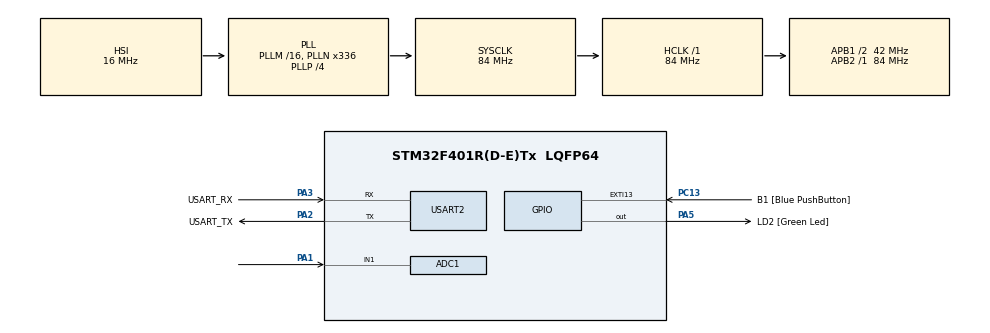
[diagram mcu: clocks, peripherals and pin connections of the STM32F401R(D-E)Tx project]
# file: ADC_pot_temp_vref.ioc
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ADC1.Channel-0\#ChannelRegularConversion=ADC_CHANNEL_1
ADC1.Channel-3\#ChannelRegularConversion=ADC_CHANNEL_TEMPSENSOR
ADC1.Channel-4\#ChannelRegularConversion=ADC_CHANNEL_VREFINT
ADC1.DMAContinuousRequests=ENABLE
ADC1.ExternalTrigConv=ADC_EXTERNALTRIGCONV_T2_TRGO
ADC1.NbrOfConversion=3
ADC1.NbrOfConversionFlag=1
ADC1.Rank-0\#ChannelRegularConversion=1
ADC1.Rank-3\#ChannelRegularConversion=2
ADC1.Rank-4\#ChannelRegularConversion=3
ADC1.SamplingTime-0\#ChannelRegularConversion=ADC_SAMPLETIME_480CYCLES
ADC1.SamplingTime-3\#ChannelRegularConversion=ADC_SAMPLETIME_480CYCLES
ADC1.SamplingTime-4\#ChannelRegularConversion=ADC_SAMPLETIME_480CYCLES
ADC1.master=1
Dma.ADC1.0.Direction=DMA_PERIPH_TO_MEMORY
Dma.ADC1.0.FIFOMode=DMA_FIFOMODE_DISABLE
Dma.ADC1.0.Instance=DMA2_Stream0
Dma.ADC1.0.MemDataAlignment=DMA_MDATAALIGN_HALFWORD
Dma.ADC1.0.MemInc=DMA_MINC_ENABLE
Dma.ADC1.0.Mode=DMA_CIRCULAR
Dma.ADC1.0.PeriphDataAlignment=DMA_PDATAALIGN_HALFWORD
Dma.ADC1.0.PeriphInc=DMA_PINC_DISABLE
Dma.ADC1.0.Priority=DMA_PRIORITY_LOW
Dma.Request0=ADC1
Dma.Request1=USART2_TX
Dma.USART2_TX.1.Direction=DMA_MEMORY_TO_PERIPH
Dma.USART2_TX.1.FIFOMode=DMA_FIFOMODE_DISABLE
Dma.USART2_TX.1.Instance=DMA1_Stream6
Dma.USART2_TX.1.MemDataAlignment=DMA_MDATAALIGN_BYTE
Dma.USART2_TX.1.MemInc=DMA_MINC_ENABLE
Dma.USART2_TX.1.Mode=DMA_NORMAL
Dma.USART2_TX.1.PeriphDataAlignment=DMA_PDATAALIGN_BYTE
Dma.USART2_TX.1.PeriphInc=DMA_PINC_DISABLE
Dma.USART2_TX.1.Priority=DMA_PRIORITY_LOW
Mcu.Family=STM32F4
Mcu.Name=STM32F401R(D-E)Tx
Mcu.Package=LQFP64
NVIC.ADC_IRQn=true\:0\:0\:false\:false\:true\:true\:true\:true
NVIC.DMA1_Stream6_IRQn=true\:0\:0\:false\:false\:true\:false\:true\:true
NVIC.DMA2_Stream0_IRQn=true\:0\:0\:false\:false\:true\:false\:true\:true
NVIC.PriorityGroup=NVIC_PRIORITYGROUP_0
NVIC.USART2_IRQn=true\:0\:0\:false\:false\:true\:true\:true\:true
PA1.Signal=ADCx_IN1
PA13.GPIO_Label=TMS
PA13.Mode=Serial_Wire
PA13.Signal=SYS_JTMS-SWDIO
PA14.GPIO_Label=TCK
PA14.Mode=Serial_Wire
PA14.Signal=SYS_JTCK-SWCLK
PA2.GPIO_Label=USART_TX
PA2.GPIO_Mode=GPIO_MODE_AF_PP
PA2.GPIO_PuPd=GPIO_NOPULL
PA2.GPIO_Speed=GPIO_SPEED_FREQ_LOW
PA2.Mode=Asynchronous
PA2.Signal=USART2_TX
PA3.GPIO_Label=USART_RX
PA3.GPIO_Mode=GPIO_MODE_AF_PP
PA3.GPIO_PuPd=GPIO_NOPULL
PA3.GPIO_Speed=GPIO_SPEED_FREQ_LOW
PA3.Mode=Asynchronous
PA3.Signal=USART2_RX
PA5.GPIO_Label=LD2 [Green Led]
PA5.GPIO_Mode=GPIO_MODE_OUTPUT_PP
PA5.GPIO_PuPd=GPIO_NOPULL
PA5.GPIO_Speed=GPIO_SPEED_FREQ_LOW
PA5.Signal=GPIO_Output
PB3.GPIO_Label=SWO
PB3.Signal=SYS_JTDO-SWO
PC13-ANTI_TAMP.GPIO_Label=B1 [Blue PushButton]
PC13-ANTI_TAMP.GPIO_ModeDefaultEXTI=GPIO_MODE_IT_FALLING
PC13-ANTI_TAMP.GPIO_PuPd=GPIO_NOPULL
PC13-ANTI_TAMP.Signal=GPXTI13
PC14-OSC32_IN.Mode=LSE-External-Oscillator
PC14-OSC32_IN.Signal=RCC_OSC32_IN
PC15-OSC32_OUT.Mode=LSE-External-Oscillator
PC15-OSC32_OUT.Signal=RCC_OSC32_OUT
PH0\ -\ OSC_IN.Mode=HSE-External-Clock-Source
PH0\ -\ OSC_IN.Signal=RCC_OSC_IN
PH1\ -\ OSC_OUT.Mode=HSE-External-Clock-Source
PH1\ -\ OSC_OUT.Signal=RCC_OSC_OUT
ProjectManager.HeapSize=0x200
ProjectManager.StackSize=0x400
ProjectManager.TargetToolchain=STM32CubeIDE
RCC.48MHZClocksFreq_Value=48000000
RCC.AHBFreq_Value=84000000
RCC.APB1CLKDivider=RCC_HCLK_DIV2
RCC.APB1Freq_Value=42000000
RCC.APB1TimFreq_Value=84000000
RCC.APB2Freq_Value=84000000
RCC.APB2TimFreq_Value=84000000
RCC.CortexFreq_Value=84000000
RCC.HCLKFreq_Value=84000000
RCC.HSE_VALUE=8000000
RCC.HSI_VALUE=16000000
RCC.PLLN=336
RCC.PLLP=RCC_PLLP_DIV4
RCC.PLLQ=7
RCC.SYSCLKFreq_VALUE=84000000
RCC.SYSCLKSource=RCC_SYSCLKSOURCE_PLLCLK
RCC.VCOOutputFreq_Value=336000000
SH.ADCx_IN1.0=ADC1_IN1,IN1
TIM2.Period=(TEMPO*10) - 1
TIM2.Prescaler=8400 - 1
TIM2.TIM_MasterOutputTrigger=TIM_TRGO_UPDATE
USART2.VirtualMode=VM_ASYNC
VP_ADC1_TempSens_Input.Mode=IN-TempSens
VP_ADC1_Vref_Input.Mode=IN-Vrefint
VP_TIM2_VS_ClockSourceINT.Mode=Internal
board=NUCLEO-F401RE

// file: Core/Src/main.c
/* USER CODE BEGIN Header */
/**
  ******************************************************************************
  * @file           : main.c
  * @brief          : Main program body
  ******************************************************************************
  * @attention
  *
  * Copyright (c) 2024 STMicroelectronics.
  * All rights reserved.
  *
  * This software is licensed under terms that can be found in the LICENSE file
  * in the root directory of this software component.
  * If no LICENSE file comes with this software, it is provided AS-IS.
  *
  ******************************************************************************
  */
/* USER CODE END Header */
#include "main.h"

/* USER CODE BEGIN PD */
#define TEMPO 1000
#define CHANNEL_NUMBER 3
/* USER CODE END PD */

ADC_HandleTypeDef hadc1;
DMA_HandleTypeDef hdma_adc1;

TIM_HandleTypeDef htim2;

UART_HandleTypeDef huart2;
DMA_HandleTypeDef hdma_usart2_tx;

/* USER CODE BEGIN PV */
uint16_t in_data[3] = {0};

char string[64] = {0};
char string_length = 0;

float v_pot = 0;
float v_temp = 0;
float v_ref = 0;

/* USER CODE END PV */

void SystemClock_Config(void);
static void MX_GPIO_Init(void);
static void MX_DMA_Init(void);
static void MX_USART2_UART_Init(void);
static void MX_ADC1_Init(void);
static void MX_TIM2_Init(void);

/* USER CODE BEGIN 0 */

void HAL_ADC_ConvCpltCallback(ADC_HandleTypeDef *hadc)
{
	v_pot  = in_data[0]*3.3/4096.0;
	v_temp = (in_data[1]*3.3/4096.0-0.76)/0.0025+25;
	v_ref  = in_data[2]*3.3/4096.0;

	string_length = snprintf(string, sizeof(string), "Potentiometer: %.3f V; Temperature: %.3f %cC; Vref: %.3f V\n", v_pot, v_temp, 176, v_ref);

	HAL_UART_Transmit_DMA(&huart2, string, string_length);
}

/* USER CODE END 0 */

int main(void)
{

  /* MCU Configuration--------------------------------------------------------*/

  /* Reset of all peripherals, Initializes the Flash interface and the Systick. */
  HAL_Init();

  /* Configure the system clock */
  SystemClock_Config();

  /* Initialize all configured peripherals */
  MX_GPIO_Init();
  MX_DMA_Init();
  MX_USART2_UART_Init();
  MX_ADC1_Init();
  MX_TIM2_Init();
  /* USER CODE BEGIN 2 */

  HAL_TIM_Base_Start(&htim2);

  HAL_ADC_Start_DMA(&hadc1, in_data, CHANNEL_NUMBER);

  /* USER CODE END 2 */

  /* Infinite loop */
  while (1)
  {

  }
}

void SystemClock_Config(void)
{
  RCC_OscInitTypeDef RCC_OscInitStruct = {0};
  RCC_ClkInitTypeDef RCC_ClkInitStruct = {0};

  /** Configure the main internal regulator output voltage
  */
  __HAL_RCC_PWR_CLK_ENABLE();
  __HAL_PWR_VOLTAGESCALING_CONFIG(PWR_REGULATOR_VOLTAGE_SCALE2);

  /** Initializes the RCC Oscillators according to the specified parameters
  * in the RCC_OscInitTypeDef structure.
  */
  RCC_OscInitStruct.OscillatorType = RCC_OSCILLATORTYPE_HSI;
  RCC_OscInitStruct.HSIState = RCC_HSI_ON;
  RCC_OscInitStruct.HSICalibrationValue = RCC_HSICALIBRATION_DEFAULT;
  RCC_OscInitStruct.PLL.PLLState = RCC_PLL_ON;
  RCC_OscInitStruct.PLL.PLLSource = RCC_PLLSOURCE_HSI;
  RCC_OscInitStruct.PLL.PLLM = 16;
  RCC_OscInitStruct.PLL.PLLN = 336;
  RCC_OscInitStruct.PLL.PLLP = RCC_PLLP_DIV4;
  RCC_OscInitStruct.PLL.PLLQ = 7;
  if (HAL_RCC_OscConfig(&RCC_OscInitStruct) != HAL_OK)
  {
    Error_Handler();
  }

  /** Initializes the CPU, AHB and APB buses clocks
  */
  RCC_ClkInitStruct.ClockType = RCC_CLOCKTYPE_HCLK|RCC_CLOCKTYPE_SYSCLK
                              |RCC_CLOCKTYPE_PCLK1|RCC_CLOCKTYPE_PCLK2;
  RCC_ClkInitStruct.SYSCLKSource = RCC_SYSCLKSOURCE_PLLCLK;
  RCC_ClkInitStruct.AHBCLKDivider = RCC_SYSCLK_DIV1;
  RCC_ClkInitStruct.APB1CLKDivider = RCC_HCLK_DIV2;
  RCC_ClkInitStruct.APB2CLKDivider = RCC_HCLK_DIV1;

  if (HAL_RCC_ClockConfig(&RCC_ClkInitStruct, FLASH_LATENCY_2) != HAL_OK)
  {
    Error_Handler();
  }
}

static void MX_ADC1_Init(void)
{

  ADC_ChannelConfTypeDef sConfig = {0};

  /** Configure the global features of the ADC (Clock, Resolution, Data Alignment and number of conversion)
  */
  hadc1.Instance = ADC1;
  hadc1.Init.ClockPrescaler = ADC_CLOCK_SYNC_PCLK_DIV4;
  hadc1.Init.Resolution = ADC_RESOLUTION_12B;
  hadc1.Init.ScanConvMode = ENABLE;
  hadc1.Init.ContinuousConvMode = DISABLE;
  hadc1.Init.DiscontinuousConvMode = DISABLE;
  hadc1.Init.ExternalTrigConvEdge = ADC_EXTERNALTRIGCONVEDGE_RISING;
  hadc1.Init.ExternalTrigConv = ADC_EXTERNALTRIGCONV_T2_TRGO;
  hadc1.Init.DataAlign = ADC_DATAALIGN_RIGHT;
  hadc1.Init.NbrOfConversion = 3;
  hadc1.Init.DMAContinuousRequests = ENABLE;
  hadc1.Init.EOCSelection = ADC_EOC_SINGLE_CONV;
  if (HAL_ADC_Init(&hadc1) != HAL_OK)
  {
    Error_Handler();
  }

  /** Configure for the selected ADC regular channel its corresponding rank in the sequencer and its sample time.
  */
  sConfig.Channel = ADC_CHANNEL_1;
  sConfig.Rank = 1;
  sConfig.SamplingTime = ADC_SAMPLETIME_480CYCLES;
  if (HAL_ADC_ConfigChannel(&hadc1, &sConfig) != HAL_OK)
  {
    Error_Handler();
  }

  /** Configure for the selected ADC regular channel its corresponding rank in the sequencer and its sample time.
  */
  sConfig.Channel = ADC_CHANNEL_TEMPSENSOR;
  sConfig.Rank = 2;
  if (HAL_ADC_ConfigChannel(&hadc1, &sConfig) != HAL_OK)
  {
    Error_Handler();
  }

  /** Configure for the selected ADC regular channel its corresponding rank in the sequencer and its sample time.
  */
  sConfig.Channel = ADC_CHANNEL_VREFINT;
  sConfig.Rank = 3;
  if (HAL_ADC_ConfigChannel(&hadc1, &sConfig) != HAL_OK)
  {
    Error_Handler();
  }

}

static void MX_TIM2_Init(void)
{

  TIM_ClockConfigTypeDef sClockSourceConfig = {0};
  TIM_MasterConfigTypeDef sMasterConfig = {0};

  htim2.Instance = TIM2;
  htim2.Init.Prescaler = 8400 - 1;
  htim2.Init.CounterMode = TIM_COUNTERMODE_UP;
  htim2.Init.Period = (TEMPO*10) - 1;
  htim2.Init.ClockDivision = TIM_CLOCKDIVISION_DIV1;
  htim2.Init.AutoReloadPreload = TIM_AUTORELOAD_PRELOAD_DISABLE;
  if (HAL_TIM_Base_Init(&htim2) != HAL_OK)
  {
    Error_Handler();
  }
  sClockSourceConfig.ClockSource = TIM_CLOCKSOURCE_INTERNAL;
  if (HAL_TIM_ConfigClockSource(&htim2, &sClockSourceConfig) != HAL_OK)
  {
    Error_Handler();
  }
  sMasterConfig.MasterOutputTrigger = TIM_TRGO_UPDATE;
  sMasterConfig.MasterSlaveMode = TIM_MASTERSLAVEMODE_DISABLE;
  if (HAL_TIMEx_MasterConfigSynchronization(&htim2, &sMasterConfig) != HAL_OK)
  {
    Error_Handler();
  }

}

static void MX_USART2_UART_Init(void)
{

  huart2.Instance = USART2;
  huart2.Init.BaudRate = 115200;
  huart2.Init.WordLength = UART_WORDLENGTH_8B;
  huart2.Init.StopBits = UART_STOPBITS_1;
  huart2.Init.Parity = UART_PARITY_NONE;
  huart2.Init.Mode = UART_MODE_TX_RX;
  huart2.Init.HwFlowCtl = UART_HWCONTROL_NONE;
  huart2.Init.OverSampling = UART_OVERSAMPLING_16;
  if (HAL_UART_Init(&huart2) != HAL_OK)
  {
    Error_Handler();
  }

}

static void MX_DMA_Init(void)
{

  /* DMA controller clock enable */
  __HAL_RCC_DMA2_CLK_ENABLE();
  __HAL_RCC_DMA1_CLK_ENABLE();

  /* DMA interrupt init */
  /* DMA1_Stream6_IRQn interrupt configuration */
  HAL_NVIC_SetPriority(DMA1_Stream6_IRQn, 0, 0);
  HAL_NVIC_EnableIRQ(DMA1_Stream6_IRQn);
  /* DMA2_Stream0_IRQn interrupt configuration */
  HAL_NVIC_SetPriority(DMA2_Stream0_IRQn, 0, 0);
  HAL_NVIC_EnableIRQ(DMA2_Stream0_IRQn);

}

static void MX_GPIO_Init(void)
{
  GPIO_InitTypeDef GPIO_InitStruct = {0};

  /* GPIO Ports Clock Enable */
  __HAL_RCC_GPIOC_CLK_ENABLE();
  __HAL_RCC_GPIOH_CLK_ENABLE();
  __HAL_RCC_GPIOA_CLK_ENABLE();
  __HAL_RCC_GPIOB_CLK_ENABLE();

  /*Configure GPIO pin Output Level */
  HAL_GPIO_WritePin(LD2_GPIO_Port, LD2_Pin, GPIO_PIN_RESET);

  /*Configure GPIO pin : B1_Pin */
  GPIO_InitStruct.Pin = B1_Pin;
  GPIO_InitStruct.Mode = GPIO_MODE_IT_FALLING;
  GPIO_InitStruct.Pull = GPIO_NOPULL;
  HAL_GPIO_Init(B1_GPIO_Port, &GPIO_InitStruct);

  /*Configure GPIO pin : LD2_Pin */
  GPIO_InitStruct.Pin = LD2_Pin;
  GPIO_InitStruct.Mode = GPIO_MODE_OUTPUT_PP;
  GPIO_InitStruct.Pull = GPIO_NOPULL;
  GPIO_InitStruct.Speed = GPIO_SPEED_FREQ_LOW;
  HAL_GPIO_Init(LD2_GPIO_Port, &GPIO_InitStruct);

}

void Error_Handler(void)
{
  __disable_irq();
  while (1)
  {
  }
}
